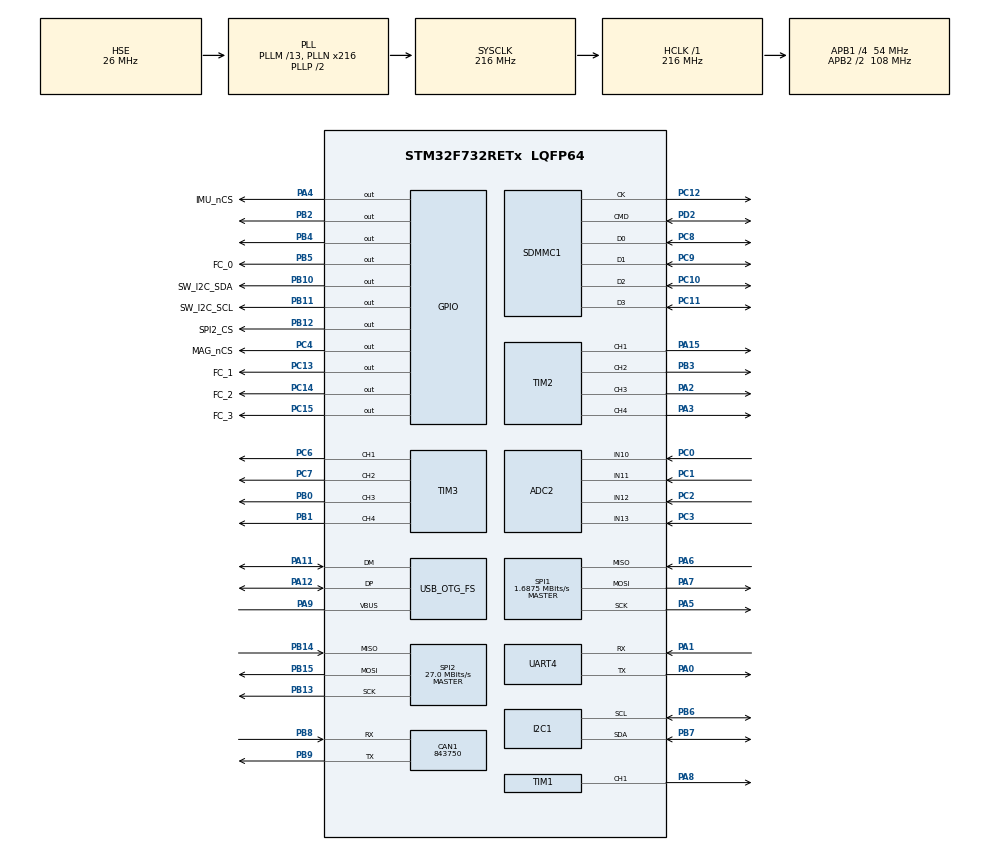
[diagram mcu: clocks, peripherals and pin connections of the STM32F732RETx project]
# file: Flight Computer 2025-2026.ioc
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ADC2.Channel-0\#ChannelRegularConversion=ADC_CHANNEL_10
ADC2.NbrOfConversionFlag=1
ADC2.Rank-0\#ChannelRegularConversion=1
ADC2.SamplingTime-0\#ChannelRegularConversion=ADC_SAMPLETIME_3CYCLES
CAN1.BS2=CAN_BS2_2TQ
CAN1.CalculateBaudRate=843750
CAN1.CalculateTimeBit=1185
CAN1.CalculateTimeQuantum=296.2962962962963
CORTEX_M7.default_mode_Activation=1
Dma.Request0=SDMMC1_RX
Dma.Request1=SDMMC1_TX
Dma.SDMMC1_RX.0.Direction=DMA_PERIPH_TO_MEMORY
Dma.SDMMC1_RX.0.FIFOMode=DMA_FIFOMODE_ENABLE
Dma.SDMMC1_RX.0.FIFOThreshold=DMA_FIFO_THRESHOLD_FULL
Dma.SDMMC1_RX.0.Instance=DMA2_Stream3
Dma.SDMMC1_RX.0.MemBurst=DMA_MBURST_INC4
Dma.SDMMC1_RX.0.MemDataAlignment=DMA_MDATAALIGN_WORD
Dma.SDMMC1_RX.0.MemInc=DMA_MINC_ENABLE
Dma.SDMMC1_RX.0.Mode=DMA_PFCTRL
Dma.SDMMC1_RX.0.PeriphBurst=DMA_PBURST_INC4
Dma.SDMMC1_RX.0.PeriphDataAlignment=DMA_PDATAALIGN_WORD
Dma.SDMMC1_RX.0.PeriphInc=DMA_PINC_DISABLE
Dma.SDMMC1_RX.0.Priority=DMA_PRIORITY_LOW
Dma.SDMMC1_TX.1.Direction=DMA_MEMORY_TO_PERIPH
Dma.SDMMC1_TX.1.FIFOMode=DMA_FIFOMODE_ENABLE
Dma.SDMMC1_TX.1.FIFOThreshold=DMA_FIFO_THRESHOLD_FULL
Dma.SDMMC1_TX.1.Instance=DMA2_Stream6
Dma.SDMMC1_TX.1.MemBurst=DMA_MBURST_INC4
Dma.SDMMC1_TX.1.MemDataAlignment=DMA_MDATAALIGN_WORD
Dma.SDMMC1_TX.1.MemInc=DMA_MINC_ENABLE
Dma.SDMMC1_TX.1.Mode=DMA_PFCTRL
Dma.SDMMC1_TX.1.PeriphBurst=DMA_PBURST_INC4
Dma.SDMMC1_TX.1.PeriphDataAlignment=DMA_PDATAALIGN_WORD
Dma.SDMMC1_TX.1.PeriphInc=DMA_PINC_DISABLE
Dma.SDMMC1_TX.1.Priority=DMA_PRIORITY_LOW
I2C1.Timing=0x20404768
Mcu.Family=STM32F7
Mcu.Name=STM32F732RETx
Mcu.Package=LQFP64
NVIC.DMA2_Stream3_IRQn=true\:0\:0\:false\:false\:true\:false\:true\:true
NVIC.DMA2_Stream6_IRQn=true\:0\:0\:false\:false\:true\:false\:true\:true
NVIC.OTG_FS_IRQn=true\:0\:0\:false\:false\:true\:false\:true\:true
NVIC.PriorityGroup=NVIC_PRIORITYGROUP_4
NVIC.SDMMC1_IRQn=true\:0\:0\:false\:false\:true\:true\:true\:true
NVIC.TIM5_IRQn=true\:15\:0\:false\:false\:true\:false\:true\:true
NVIC.TimeBase=TIM5_IRQn
NVIC.TimeBaseIP=TIM5
PA0-WKUP.Mode=Asynchronous
PA0-WKUP.Signal=UART4_TX
PA1.Mode=Asynchronous
PA1.Signal=UART4_RX
PA11.Mode=Device_Only
PA11.Signal=USB_OTG_FS_DM
PA12.Mode=Device_Only
PA12.Signal=USB_OTG_FS_DP
PA13.Mode=Serial_Wire
PA13.Signal=SYS_JTMS-SWDIO
PA14.Mode=Serial_Wire
PA14.Signal=SYS_JTCK-SWCLK
PA15.Signal=S_TIM2_CH1_ETR
PA2.Signal=S_TIM2_CH3
PA3.Signal=S_TIM2_CH4
PA4.GPIO_Label=IMU_nCS
PA4.Signal=GPIO_Output
PA5.Mode=Full_Duplex_Master
PA5.Signal=SPI1_SCK
PA6.Mode=Full_Duplex_Master
PA6.Signal=SPI1_MISO
PA7.Mode=Full_Duplex_Master
PA7.Signal=SPI1_MOSI
PA8.Signal=S_TIM1_CH1
PA9.Mode=Activate_VBUS
PA9.Signal=USB_OTG_FS_VBUS
PB0.Signal=S_TIM3_CH3
PB1.Signal=S_TIM3_CH4
PB10.GPIO_Label=SW_I2C_SDA
PB10.GPIO_ModeDefaultOutputPP=GPIO_MODE_OUTPUT_OD
PB10.GPIO_PuPd=GPIO_PULLUP
PB10.GPIO_Speed=GPIO_SPEED_FREQ_HIGH
PB10.Signal=GPIO_Output
PB11.GPIO_Label=SW_I2C_SCL
PB11.GPIO_ModeDefaultOutputPP=GPIO_MODE_OUTPUT_OD
PB11.GPIO_PuPd=GPIO_PULLUP
PB11.GPIO_Speed=GPIO_SPEED_FREQ_HIGH
PB11.Signal=GPIO_Output
PB12.GPIO_Label=SPI2_CS
PB12.Signal=GPIO_Output
PB13.Mode=Full_Duplex_Master
PB13.Signal=SPI2_SCK
PB14.Mode=Full_Duplex_Master
PB14.Signal=SPI2_MISO
PB15.Mode=Full_Duplex_Master
PB15.Signal=SPI2_MOSI
PB2.Signal=GPIO_Output
PB3.Signal=S_TIM2_CH2
PB4.Signal=GPIO_Output
PB5.GPIO_Label=FC_0
PB5.Signal=GPIO_Output
PB6.Mode=I2C
PB6.Signal=I2C1_SCL
PB7.Mode=I2C
PB7.Signal=I2C1_SDA
PB8.Mode=CAN_Activate
PB8.Signal=CAN1_RX
PB9.Mode=CAN_Activate
PB9.Signal=CAN1_TX
PC0.Signal=ADCx_IN10
PC1.Signal=ADCx_IN11
PC10.Mode=SD_4_bits_Wide_bus
PC10.Signal=SDMMC1_D2
PC11.Mode=SD_4_bits_Wide_bus
PC11.Signal=SDMMC1_D3
PC12.Mode=SD_4_bits_Wide_bus
PC12.Signal=SDMMC1_CK
PC13.GPIO_Label=FC_1
PC13.Signal=GPIO_Output
PC14-OSC32_IN.GPIO_Label=FC_2
PC14-OSC32_IN.Signal=GPIO_Output
PC15-OSC32_OUT.GPIO_Label=FC_3
PC15-OSC32_OUT.Signal=GPIO_Output
PC2.Signal=ADCx_IN12
PC3.Signal=ADCx_IN13
PC4.GPIO_Label=MAG_nCS
PC4.Signal=GPIO_Output
PC6.Signal=S_TIM3_CH1
PC7.Signal=S_TIM3_CH2
PC8.Mode=SD_4_bits_Wide_bus
PC8.Signal=SDMMC1_D0
PC9.Mode=SD_4_bits_Wide_bus
PC9.Signal=SDMMC1_D1
PD2.Mode=SD_4_bits_Wide_bus
PD2.Signal=SDMMC1_CMD
PH0-OSC_IN.Mode=HSE-External-Oscillator
PH0-OSC_IN.Signal=RCC_OSC_IN
PH1-OSC_OUT.Mode=HSE-External-Oscillator
PH1-OSC_OUT.Signal=RCC_OSC_OUT
ProjectManager.HeapSize=0x200
ProjectManager.StackSize=0x400
ProjectManager.TargetToolchain=STM32CubeIDE
RCC.AHBFreq_Value=216000000
RCC.APB1CLKDivider=RCC_HCLK_DIV4
RCC.APB1Freq_Value=54000000
RCC.APB1TimFreq_Value=108000000
RCC.APB2CLKDivider=RCC_HCLK_DIV2
RCC.APB2Freq_Value=108000000
RCC.APB2TimFreq_Value=216000000
RCC.CortexFreq_Value=216000000
RCC.HCLKFreq_Value=216000000
RCC.HSE_VALUE=26000000
RCC.HSI_VALUE=16000000
RCC.LSE_VALUE=32768
RCC.PLLM=13
RCC.PLLN=216
RCC.PLLQ=9
RCC.SDMMCClockSelection=RCC_SDMMC1CLKSOURCE_CLK48
RCC.SYSCLKFreq_VALUE=216000000
RCC.SYSCLKSource=RCC_SYSCLKSOURCE_PLLCLK
RCC.USBFreq_Value=48000000
RCC.VCOOutputFreq_Value=432000000
SH.ADCx_IN10.0=ADC2_IN10,IN10
SH.ADCx_IN11.0=ADC2_IN11,IN11
SH.ADCx_IN12.0=ADC2_IN12,IN12
SH.ADCx_IN13.0=ADC2_IN13,IN13
SH.S_TIM1_CH1.0=TIM1_CH1,Output Compare1 CH1
SH.S_TIM2_CH1_ETR.0=TIM2_CH1,PWM Generation1 CH1
SH.S_TIM2_CH2.0=TIM2_CH2,PWM Generation2 CH2
SH.S_TIM2_CH3.0=TIM2_CH3,PWM Generation3 CH3
SH.S_TIM2_CH4.0=TIM2_CH4,PWM Generation4 CH4
SH.S_TIM3_CH1.0=TIM3_CH1,PWM Generation1 CH1
SH.S_TIM3_CH2.0=TIM3_CH2,PWM Generation2 CH2
SH.S_TIM3_CH3.0=TIM3_CH3,PWM Generation3 CH3
SH.S_TIM3_CH4.0=TIM3_CH4,PWM Generation4 CH4
SPI1.BaudRatePrescaler=SPI_BAUDRATEPRESCALER_64
SPI1.CLKPhase=SPI_PHASE_2EDGE
SPI1.CLKPolarity=SPI_POLARITY_HIGH
SPI1.CalculateBaudRate=1.6875 MBits/s
SPI1.DataSize=SPI_DATASIZE_8BIT
SPI1.Direction=SPI_DIRECTION_2LINES
SPI1.Mode=SPI_MODE_MASTER
SPI1.VirtualType=VM_MASTER
SPI2.BaudRatePrescaler=SPI_BAUDRATEPRESCALER_2
SPI2.CalculateBaudRate=27.0 MBits/s
SPI2.Direction=SPI_DIRECTION_2LINES
SPI2.Mode=SPI_MODE_MASTER
SPI2.VirtualType=VM_MASTER
STMicroelectronics.X-CUBE-ALGOBUILD.1.4.0.LibraryCcDSPOoLibraryJjDSPOoLibrary=true
TIM1.Channel-Output\ Compare1\ CH1=TIM_CHANNEL_1
TIM2.Channel-PWM\ Generation1\ CH1=TIM_CHANNEL_1
TIM2.Channel-PWM\ Generation2\ CH2=TIM_CHANNEL_2
TIM2.Channel-PWM\ Generation3\ CH3=TIM_CHANNEL_3
TIM2.Channel-PWM\ Generation4\ CH4=TIM_CHANNEL_4
TIM3.Channel-PWM\ Generation1\ CH1=TIM_CHANNEL_1
TIM3.Channel-PWM\ Generation2\ CH2=TIM_CHANNEL_2
TIM3.Channel-PWM\ Generation3\ CH3=TIM_CHANNEL_3
TIM3.Channel-PWM\ Generation4\ CH4=TIM_CHANNEL_4
USB_DEVICE.CLASS_NAME_FS=CDC
USB_DEVICE.USBD_DEBUG_LEVEL-CDC_FS=0
USB_DEVICE.VirtualMode-CDC_FS=Cdc
USB_DEVICE.VirtualModeFS=Cdc_FS
USB_OTG_FS.VirtualMode=Device_Only
VP_FATFS_VS_SDIO.Mode=SDIO
VP_STMicroelectronics.X-CUBE-ALGOBUILD_VS_DSPOoLibraryJjLibrary_1.4.0_1.4.0.Mode=DSPOoLibraryJjLibrary
VP_SYS_VS_tim5.Mode=TIM5
VP_TIM1_VS_ClockSourceINT.Mode=Internal
VP_USB_DEVICE_VS_USB_DEVICE_CDC_FS.Mode=CDC_FS
board=custom

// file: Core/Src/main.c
/* USER CODE BEGIN Header */
/**
  ******************************************************************************
  * @file           : main.c
  * @brief          : Main program body
  ******************************************************************************
  * @attention
  *
  * Copyright (c) 2026 STMicroelectronics.
  * All rights reserved.
  *
  * This software is licensed under terms that can be found in the LICENSE file
  * in the root directory of this software component.
  * If no LICENSE file comes with this software, it is provided AS-IS.
  *
  ******************************************************************************
  */
/* USER CODE END Header */
#include "main.h"
#include "adc.h"
#include "can.h"
#include "dma.h"
#include "fatfs.h"
#include "i2c.h"
#include "sdmmc.h"
#include "spi.h"
#include "tim.h"
#include "usart.h"
#include "usb_device.h"
#include "gpio.h"

/* USER CODE BEGIN Includes */
#include <stdio.h>
#include "usbd_cdc_if.h"
#include "..\sensors\bme680.h"
#include "..\sensors\ms5611.h"
#include "..\sensors\icm40609d.h"
#include "..\sensors\mmc5983ma.h"
#include "..\software_i2c\dwt_stm32_delay.h"
#include "..\software_i2c\stm32_sw_i2c.h"
#include "..\attitude_estimation\attitude_estimation.h"
#include "..\EKF\prediction.h"
#include "..\State_Machine\state.h"
#include "..\sensors\sensor_logger.h"
#include "..\EKF\altitude.h"
/* USER CODE END Includes */

void SystemClock_Config(void);
static void MPU_Config(void);

int main(void)
{

  /* MPU Configuration--------------------------------------------------------*/
  MPU_Config();

  /* MCU Configuration--------------------------------------------------------*/

  /* Reset of all peripherals, Initializes the Flash interface and the Systick. */
  HAL_Init();

  /* Configure the system clock */
  SystemClock_Config();

  /* USER CODE BEGIN SysInit */
  DWT_Delay_Init();
  I2C_init();
  DWT_Delay_us(1000); //1 ms
  /* USER CODE END SysInit */

  /* Initialize all configured peripherals */
  MX_GPIO_Init();
  MX_DMA_Init();
  MX_ADC2_Init();
  MX_CAN1_Init();
  MX_I2C1_Init();
  MX_SDMMC1_SD_Init();
  MX_SPI1_Init();
  MX_SPI2_Init();
  MX_TIM2_Init();
  MX_TIM3_Init();
  MX_UART4_Init();
  MX_TIM1_Init();
  MX_USB_DEVICE_Init();
  MX_FATFS_Init();
  /* USER CODE BEGIN 2 */
  BME680_Init();
  MS5611_Init();
  ICM40609D_Init();
  MMC5983MA_Init();

  uint32_t time = HAL_GetTick();
  uint32_t timeLast = HAL_GetTick();

  BME680_Data_t bme;
  ICM40609D_Data_t icm;

  stateParams state;
  state.flightState = 0;
  state.velo = 0;
  state.accel[0] = 0;
  state.accel[1] = 0;
  state.accel[2] = 0;
  state.baro = 0;

  FATFS FatFs;         // File system object
  FIL fil;             // File object
  FRESULT fres;
  UINT bytesWrote = 0;     // Variable to track written bytes

  /* USER CODE END 2 */

  /* Infinite loop */
  while (1)
  {
	/* USER CODE BEGIN 3 */
	  stateController(&state);
	  if (time-timeLast>1000) {
		  BME680_Read_All(&bme);
		  state.baro = bme.altitude*3.28084;
		  state.update = 1;
	  }

	  ICM40609D_Read_All(&icm);
	  state.accel[0] = state.T*state.accel[0] + (1-state.T)*icm.accel_x;
	  state.accel[1] = state.T*state.accel[1] + (1-state.T)*icm.accel_y;
	  state.accel[2] = state.T*state.accel[2] + (1-state.T)*icm.accel_z;

	  if (state.flightState<3) {
		  state.vaccel = state.accel[0];
	  } else {
		  state.vaccel = (state.accel[0]+state.accel[1]+state.accel[2])/(3 + 0.1*abs(state.velo));
	  }

	char buffer[50] = "";
	snprintf(buffer, sizeof(buffer), "Alt: %.2f, Baro: %.2f Velo: %.2f, Accel: %.2f %.2f %.2f\n", state.alt, state.baro, state.velo, state.accel[0], state.accel[1], state.accel[2]);
	fres = logSensors(&FatFs,&fil,buffer,&bytesWrote);

	float altOld = state.alt;
	float veloOld = state.velo;
	float dt = (time-timeLast)*1000;
	altFilter(&state,dt);
	state.alt = state.Y*altOld + (1-state.Y)*state.alt;
	state.velo = state.Y*veloOld + (1-state.Y)*state.velo;

	timeLast = time;
	time = HAL_GetTick();
  }
  /* USER CODE END 3 */
}

void SystemClock_Config(void)
{
  RCC_OscInitTypeDef RCC_OscInitStruct = {0};
  RCC_ClkInitTypeDef RCC_ClkInitStruct = {0};

  /** Configure the main internal regulator output voltage
  */
  __HAL_RCC_PWR_CLK_ENABLE();
  __HAL_PWR_VOLTAGESCALING_CONFIG(PWR_REGULATOR_VOLTAGE_SCALE1);

  /** Initializes the RCC Oscillators according to the specified parameters
  * in the RCC_OscInitTypeDef structure.
  */
  RCC_OscInitStruct.OscillatorType = RCC_OSCILLATORTYPE_HSE;
  RCC_OscInitStruct.HSEState = RCC_HSE_ON;
  RCC_OscInitStruct.PLL.PLLState = RCC_PLL_ON;
  RCC_OscInitStruct.PLL.PLLSource = RCC_PLLSOURCE_HSE;
  RCC_OscInitStruct.PLL.PLLM = 13;
  RCC_OscInitStruct.PLL.PLLN = 216;
  RCC_OscInitStruct.PLL.PLLP = RCC_PLLP_DIV2;
  RCC_OscInitStruct.PLL.PLLQ = 9;
  if (HAL_RCC_OscConfig(&RCC_OscInitStruct) != HAL_OK)
  {
    Error_Handler();
  }

  /** Activate the Over-Drive mode
  */
  if (HAL_PWREx_EnableOverDrive() != HAL_OK)
  {
    Error_Handler();
  }

  /** Initializes the CPU, AHB and APB buses clocks
  */
  RCC_ClkInitStruct.ClockType = RCC_CLOCKTYPE_HCLK|RCC_CLOCKTYPE_SYSCLK
                              |RCC_CLOCKTYPE_PCLK1|RCC_CLOCKTYPE_PCLK2;
  RCC_ClkInitStruct.SYSCLKSource = RCC_SYSCLKSOURCE_PLLCLK;
  RCC_ClkInitStruct.AHBCLKDivider = RCC_SYSCLK_DIV1;
  RCC_ClkInitStruct.APB1CLKDivider = RCC_HCLK_DIV4;
  RCC_ClkInitStruct.APB2CLKDivider = RCC_HCLK_DIV2;

  if (HAL_RCC_ClockConfig(&RCC_ClkInitStruct, FLASH_LATENCY_7) != HAL_OK)
  {
    Error_Handler();
  }
}

/* USER CODE BEGIN 4 */

// redirect printf to CDC / virtual com port
int _write(int file, char *ptr, int len)
{
//   for usb printf
   CDC_Transmit_FS((uint8_t *)ptr, (uint16_t)len);
   HAL_Delay(1);
   return len;

  // for uart/stlink printf
//  HAL_UART_Transmit(&huart4, (uint8_t *)ptr, (uint16_t)len, HAL_MAX_DELAY);
//  return len;
}

/* USER CODE END 4 */

 /* MPU Configuration */

void MPU_Config(void)
{
  MPU_Region_InitTypeDef MPU_InitStruct = {0};

  /* Disables the MPU */
  HAL_MPU_Disable();

  /** Initializes and configures the Region and the memory to be protected
  */
  MPU_InitStruct.Enable = MPU_REGION_ENABLE;
  MPU_InitStruct.Number = MPU_REGION_NUMBER0;
  MPU_InitStruct.BaseAddress = 0x0;
  MPU_InitStruct.Size = MPU_REGION_SIZE_4GB;
  MPU_InitStruct.SubRegionDisable = 0x87;
  MPU_InitStruct.TypeExtField = MPU_TEX_LEVEL0;
  MPU_InitStruct.AccessPermission = MPU_REGION_NO_ACCESS;
  MPU_InitStruct.DisableExec = MPU_INSTRUCTION_ACCESS_DISABLE;
  MPU_InitStruct.IsShareable = MPU_ACCESS_SHAREABLE;
  MPU_InitStruct.IsCacheable = MPU_ACCESS_NOT_CACHEABLE;
  MPU_InitStruct.IsBufferable = MPU_ACCESS_NOT_BUFFERABLE;

  HAL_MPU_ConfigRegion(&MPU_InitStruct);
  /* Enables the MPU */
  HAL_MPU_Enable(MPU_PRIVILEGED_DEFAULT);

}

void HAL_TIM_PeriodElapsedCallback(TIM_HandleTypeDef *htim)
{
  if (htim->Instance == TIM5)
  {
    HAL_IncTick();
  }
}

void Error_Handler(void)
{
  __disable_irq();
  while (1)
  {
  }
}
